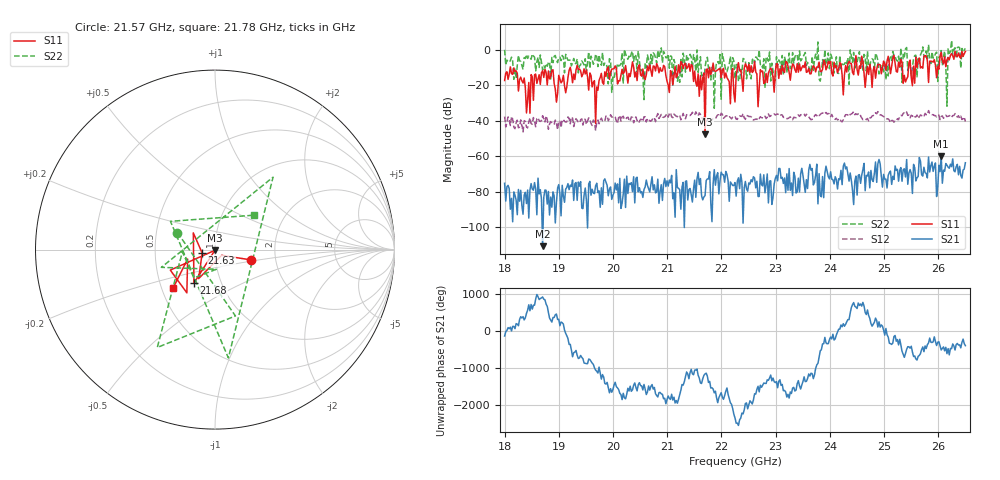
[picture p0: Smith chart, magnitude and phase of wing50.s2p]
!Keysight Technologies,N5242B,MY47200105,A.14.00.23
!Date: Friday, May 10, 2024 11:01:07
!Correction: S11(C  2-Port  )
!S21(C  2-Port  )
!S12(C  2-Port  )
!S22(C  2-Port  )
!S2P File: Measurement: :
# Hz S  RI  R 50
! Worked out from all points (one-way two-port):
!   401 points, 18 GHz to 26.5 GHz, reference 50 ohm
!   highest |S21| = -60.09 dB at 26.05 GHz (marker M1); lowest = -110.8 dB at 18.7 GHz (marker M2)
!   lowest |S11| = -47.7 dB at 21.7 GHz (marker M3), VSWR 1.01, Z = 49.9 - j0.406 ohm
!   |S11| at or under -10 dB: 18.11 GHz to 19.21 GHz (1.103 GHz wide, 5.91 % of centre); 19.35 GHz to 19.91 GHz (557.8 MHz wide, 2.84 % of centre); 21.86 GHz to 22.3 GHz (439 MHz wide, 1.99 % of centre) (the widest 3 of 62)
!   |S22| runs from -33.0 to 5.2 dB; largest |S21 - S12| = 0.019
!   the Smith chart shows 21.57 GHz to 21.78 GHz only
!   S11 on the Smith chart (normalised r, x): 21.57 GHz: 1.49, -0.18; 21.63 GHz: 0.87, -0.03; 21.68 GHz: 0.74, -0.29; 21.78 GHz: 0.57, -0.28
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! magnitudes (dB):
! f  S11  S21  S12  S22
! 18 GHz  -17.4  -75.4  -37.7  -0.1
! 18.19 GHz  -12.3  -82.0  -44.6  -10.6
! 18.43 GHz  -28.0  -79.2  -44.1  -4.9
! 18.7 GHz  -11.9  -110.8  -37.2  -11.6
! 19.42 GHz  -15.3  -89.3  -39.1  -6.4
! 19.68 GHz  -41.7  -76.8  -45.7  -2.5
! 20.02 GHz  -10.8  -80.5  -37.5  -16.5
! 20.25 GHz  -13.5  -71.3  -38.5  -4.3
! 20.55 GHz  -10.9  -83.3  -40.5  -13.8
! 20.85 GHz  -13.0  -86.6  -38.8  -4.7
! 21.23 GHz  -13.1  -79.0  -37.0  -18.4
! 21.57 GHz  -13.6  -69.2  -37.3  -12.8
! 21.63 GHz  -22.6  -82.5  -38.6  -14.8
! 21.68 GHz  -13.1  -83.1  -38.0  -19.2
! 21.7 GHz  -47.7  -82.3  -38.1  -10.0
! 21.78 GHz  -9.9  -68.8  -38.9  -10.8
! 22.25 GHz  -29.5  -74.9  -37.5  -16.3
! 23.67 GHz  -10.9  -67.0  -39.3  -3.8
! 25.1 GHz  -8.2  -69.3  -39.7  -5.8
! 25.39 GHz  -18.2  -71.8  -34.7  0.4
! 26.05 GHz  -1.5  -60.1  -37.7  -0.5
! 26.5 GHz  -1.0  -63.8  -40.6  0.7
